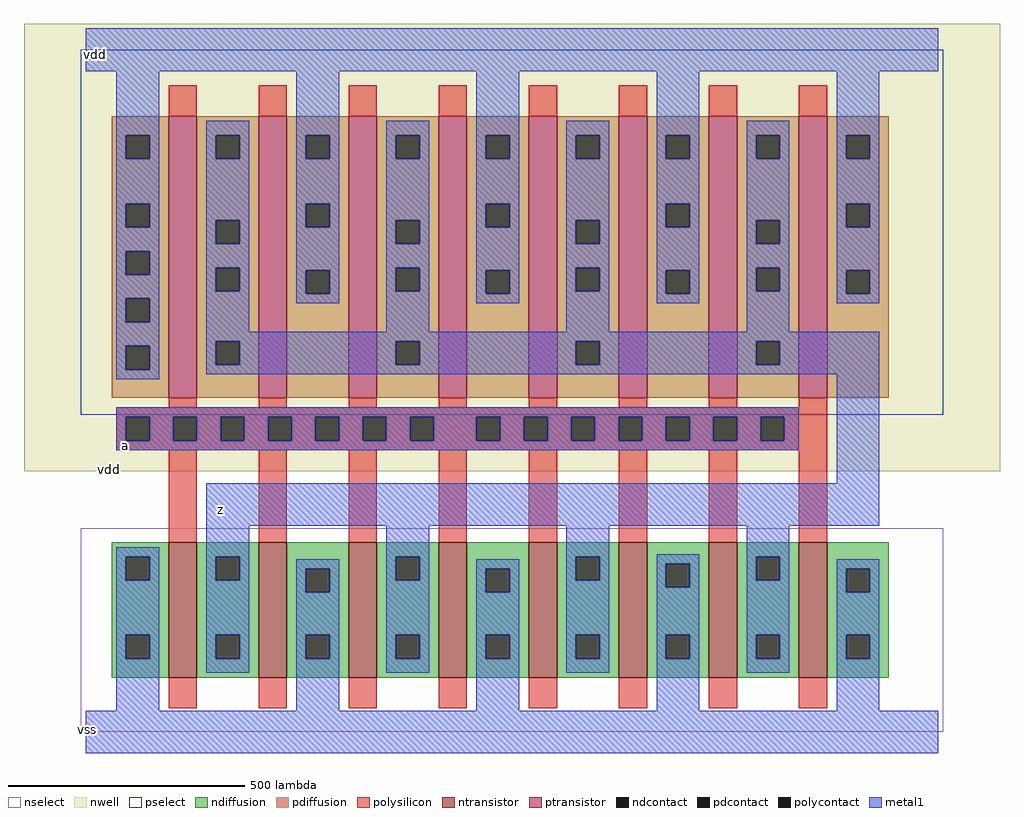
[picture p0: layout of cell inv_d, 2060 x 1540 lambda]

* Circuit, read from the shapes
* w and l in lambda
.subckt inv_d z a vdd vss
M1 z a vss VSUBS nfet w=285 l=60 m=8
M2 z a vdd vdd pfet w=595 l=60 m=8
.ends

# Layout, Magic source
magic
tech amic5n
<< nwell >>
rect -130 550 1930 1495
<< ntransistor >>
rect 175 115 235 400
rect 365 115 425 400
rect 555 115 615 400
rect 745 115 805 400
rect 935 115 995 400
rect 1125 115 1185 400
rect 1315 115 1375 400
rect 1505 115 1565 400
<< ptransistor >>
rect 175 705 235 1300
rect 365 705 425 1300
rect 555 705 615 1300
rect 745 705 805 1300
rect 935 705 995 1300
rect 1125 705 1185 1300
rect 1315 705 1375 1300
rect 1505 705 1565 1300
<< nselect >>
rect -10 0 1810 430
<< pselect >>
rect -10 670 1810 1440
<< ndiffusion >>
rect 55 370 175 400
rect 55 320 85 370
rect 135 320 175 370
rect 55 205 175 320
rect 55 155 85 205
rect 135 155 175 205
rect 55 115 175 155
rect 235 370 365 400
rect 235 320 275 370
rect 325 320 365 370
rect 235 205 365 320
rect 235 155 275 205
rect 325 155 365 205
rect 235 115 365 155
rect 425 345 555 400
rect 425 295 465 345
rect 515 295 555 345
rect 425 205 555 295
rect 425 155 465 205
rect 515 155 555 205
rect 425 115 555 155
rect 615 370 745 400
rect 615 320 655 370
rect 705 320 745 370
rect 615 205 745 320
rect 615 155 655 205
rect 705 155 745 205
rect 615 115 745 155
rect 805 345 935 400
rect 805 295 845 345
rect 895 295 935 345
rect 805 205 935 295
rect 805 155 845 205
rect 895 155 935 205
rect 805 115 935 155
rect 995 370 1125 400
rect 995 320 1035 370
rect 1085 320 1125 370
rect 995 205 1125 320
rect 995 155 1035 205
rect 1085 155 1125 205
rect 995 115 1125 155
rect 1185 355 1315 400
rect 1185 305 1225 355
rect 1275 305 1315 355
rect 1185 205 1315 305
rect 1185 155 1225 205
rect 1275 155 1315 205
rect 1185 115 1315 155
rect 1375 370 1505 400
rect 1375 320 1415 370
rect 1465 320 1505 370
rect 1375 205 1505 320
rect 1375 155 1415 205
rect 1465 155 1505 205
rect 1375 115 1505 155
rect 1565 345 1695 400
rect 1565 295 1605 345
rect 1655 295 1695 345
rect 1565 205 1695 295
rect 1565 155 1605 205
rect 1655 155 1695 205
rect 1565 115 1695 155
<< pdiffusion >>
rect 55 1260 175 1300
rect 55 1210 85 1260
rect 135 1210 175 1260
rect 55 1115 175 1210
rect 55 1065 85 1115
rect 135 1065 175 1115
rect 55 1015 175 1065
rect 55 965 85 1015
rect 135 965 175 1015
rect 55 915 175 965
rect 55 865 85 915
rect 135 865 175 915
rect 55 815 175 865
rect 55 765 85 815
rect 135 765 175 815
rect 55 705 175 765
rect 235 1260 365 1300
rect 235 1210 275 1260
rect 325 1210 365 1260
rect 235 1080 365 1210
rect 235 1030 275 1080
rect 325 1030 365 1080
rect 235 980 365 1030
rect 235 930 275 980
rect 325 930 365 980
rect 235 825 365 930
rect 235 775 275 825
rect 325 775 365 825
rect 235 705 365 775
rect 425 1260 555 1300
rect 425 1210 465 1260
rect 515 1210 555 1260
rect 425 1115 555 1210
rect 425 1065 465 1115
rect 515 1065 555 1115
rect 425 975 555 1065
rect 425 925 465 975
rect 515 925 555 975
rect 425 705 555 925
rect 615 1260 745 1300
rect 615 1210 655 1260
rect 705 1210 745 1260
rect 615 1080 745 1210
rect 615 1030 655 1080
rect 705 1030 745 1080
rect 615 980 745 1030
rect 615 930 655 980
rect 705 930 745 980
rect 615 825 745 930
rect 615 775 655 825
rect 705 775 745 825
rect 615 705 745 775
rect 805 1260 935 1300
rect 805 1210 845 1260
rect 895 1210 935 1260
rect 805 1115 935 1210
rect 805 1065 845 1115
rect 895 1065 935 1115
rect 805 975 935 1065
rect 805 925 845 975
rect 895 925 935 975
rect 805 705 935 925
rect 995 1260 1125 1300
rect 995 1210 1035 1260
rect 1085 1210 1125 1260
rect 995 1080 1125 1210
rect 995 1030 1035 1080
rect 1085 1030 1125 1080
rect 995 980 1125 1030
rect 995 930 1035 980
rect 1085 930 1125 980
rect 995 825 1125 930
rect 995 775 1035 825
rect 1085 775 1125 825
rect 995 705 1125 775
rect 1185 1260 1315 1300
rect 1185 1210 1225 1260
rect 1275 1210 1315 1260
rect 1185 1115 1315 1210
rect 1185 1065 1225 1115
rect 1275 1065 1315 1115
rect 1185 975 1315 1065
rect 1185 925 1225 975
rect 1275 925 1315 975
rect 1185 705 1315 925
rect 1375 1260 1505 1300
rect 1375 1210 1415 1260
rect 1465 1210 1505 1260
rect 1375 1080 1505 1210
rect 1375 1030 1415 1080
rect 1465 1030 1505 1080
rect 1375 980 1505 1030
rect 1375 930 1415 980
rect 1465 930 1505 980
rect 1375 825 1505 930
rect 1375 775 1415 825
rect 1465 775 1505 825
rect 1375 705 1505 775
rect 1565 1260 1695 1300
rect 1565 1210 1605 1260
rect 1655 1210 1695 1260
rect 1565 1115 1695 1210
rect 1565 1065 1605 1115
rect 1655 1065 1695 1115
rect 1565 975 1695 1065
rect 1565 925 1605 975
rect 1655 925 1695 975
rect 1565 705 1695 925
<< ndcontact >>
rect 85 320 135 370
rect 85 155 135 205
rect 275 320 325 370
rect 275 155 325 205
rect 465 295 515 345
rect 465 155 515 205
rect 655 320 705 370
rect 655 155 705 205
rect 845 295 895 345
rect 845 155 895 205
rect 1035 320 1085 370
rect 1035 155 1085 205
rect 1225 305 1275 355
rect 1225 155 1275 205
rect 1415 320 1465 370
rect 1415 155 1465 205
rect 1605 295 1655 345
rect 1605 155 1655 205
<< pdcontact >>
rect 85 1210 135 1260
rect 85 1065 135 1115
rect 85 965 135 1015
rect 85 865 135 915
rect 85 765 135 815
rect 275 1210 325 1260
rect 275 1030 325 1080
rect 275 930 325 980
rect 275 775 325 825
rect 465 1210 515 1260
rect 465 1065 515 1115
rect 465 925 515 975
rect 655 1210 705 1260
rect 655 1030 705 1080
rect 655 930 705 980
rect 655 775 705 825
rect 845 1210 895 1260
rect 845 1065 895 1115
rect 845 925 895 975
rect 1035 1210 1085 1260
rect 1035 1030 1085 1080
rect 1035 930 1085 980
rect 1035 775 1085 825
rect 1225 1210 1275 1260
rect 1225 1065 1275 1115
rect 1225 925 1275 975
rect 1415 1210 1465 1260
rect 1415 1030 1465 1080
rect 1415 930 1465 980
rect 1415 775 1465 825
rect 1605 1210 1655 1260
rect 1605 1065 1655 1115
rect 1605 925 1655 975
<< polysilicon >>
rect 175 1300 235 1365
rect 365 1300 425 1365
rect 555 1300 615 1365
rect 745 1300 805 1365
rect 935 1300 995 1365
rect 1125 1300 1185 1365
rect 1315 1300 1375 1365
rect 1505 1300 1565 1365
rect 175 685 235 705
rect 365 685 425 705
rect 555 685 615 705
rect 745 685 805 705
rect 935 685 995 705
rect 1125 685 1185 705
rect 1315 685 1375 705
rect 1505 685 1565 705
rect 65 665 1565 685
rect 65 615 85 665
rect 135 615 185 665
rect 235 615 285 665
rect 335 615 385 665
rect 435 615 485 665
rect 535 615 585 665
rect 635 615 685 665
rect 735 615 825 665
rect 875 615 925 665
rect 975 615 1025 665
rect 1075 615 1125 665
rect 1175 615 1225 665
rect 1275 615 1325 665
rect 1375 615 1425 665
rect 1475 615 1565 665
rect 65 595 1565 615
rect 175 400 235 595
rect 365 400 425 595
rect 555 400 615 595
rect 745 400 805 595
rect 935 400 995 595
rect 1125 400 1185 595
rect 1315 400 1375 595
rect 1505 400 1565 595
rect 175 50 235 115
rect 365 50 425 115
rect 555 50 615 115
rect 745 50 805 115
rect 935 50 995 115
rect 1125 50 1185 115
rect 1315 50 1375 115
rect 1505 50 1565 115
<< polycontact >>
rect 85 615 135 665
rect 185 615 235 665
rect 285 615 335 665
rect 385 615 435 665
rect 485 615 535 665
rect 585 615 635 665
rect 685 615 735 665
rect 825 615 875 665
rect 925 615 975 665
rect 1025 615 1075 665
rect 1125 615 1175 665
rect 1225 615 1275 665
rect 1325 615 1375 665
rect 1425 615 1475 665
<< metal1 >>
rect 0 1395 1800 1485
rect 65 1260 155 1395
rect 65 1210 85 1260
rect 135 1210 155 1260
rect 65 1115 155 1210
rect 65 1065 85 1115
rect 135 1065 155 1115
rect 65 1015 155 1065
rect 65 965 85 1015
rect 135 965 155 1015
rect 65 915 155 965
rect 65 865 85 915
rect 135 865 155 915
rect 65 815 155 865
rect 65 765 85 815
rect 135 765 155 815
rect 65 745 155 765
rect 255 1260 345 1290
rect 255 1210 275 1260
rect 325 1210 345 1260
rect 255 1080 345 1210
rect 255 1030 275 1080
rect 325 1030 345 1080
rect 255 980 345 1030
rect 255 930 275 980
rect 325 930 345 980
rect 255 845 345 930
rect 445 1260 535 1395
rect 445 1210 465 1260
rect 515 1210 535 1260
rect 445 1115 535 1210
rect 445 1065 465 1115
rect 515 1065 535 1115
rect 445 975 535 1065
rect 445 925 465 975
rect 515 925 535 975
rect 445 905 535 925
rect 635 1260 725 1290
rect 635 1210 655 1260
rect 705 1210 725 1260
rect 635 1080 725 1210
rect 635 1030 655 1080
rect 705 1030 725 1080
rect 635 980 725 1030
rect 635 930 655 980
rect 705 930 725 980
rect 635 845 725 930
rect 825 1260 915 1395
rect 825 1210 845 1260
rect 895 1210 915 1260
rect 825 1115 915 1210
rect 825 1065 845 1115
rect 895 1065 915 1115
rect 825 975 915 1065
rect 825 925 845 975
rect 895 925 915 975
rect 825 905 915 925
rect 1015 1260 1105 1290
rect 1015 1210 1035 1260
rect 1085 1210 1105 1260
rect 1015 1080 1105 1210
rect 1015 1030 1035 1080
rect 1085 1030 1105 1080
rect 1015 980 1105 1030
rect 1015 930 1035 980
rect 1085 930 1105 980
rect 1015 845 1105 930
rect 1205 1260 1295 1395
rect 1205 1210 1225 1260
rect 1275 1210 1295 1260
rect 1205 1115 1295 1210
rect 1205 1065 1225 1115
rect 1275 1065 1295 1115
rect 1205 975 1295 1065
rect 1205 925 1225 975
rect 1275 925 1295 975
rect 1205 905 1295 925
rect 1395 1260 1485 1290
rect 1395 1210 1415 1260
rect 1465 1210 1485 1260
rect 1395 1080 1485 1210
rect 1395 1030 1415 1080
rect 1465 1030 1485 1080
rect 1395 980 1485 1030
rect 1395 930 1415 980
rect 1465 930 1485 980
rect 1395 845 1485 930
rect 1585 1260 1675 1395
rect 1585 1210 1605 1260
rect 1655 1210 1675 1260
rect 1585 1115 1675 1210
rect 1585 1065 1605 1115
rect 1655 1065 1675 1115
rect 1585 975 1675 1065
rect 1585 925 1605 975
rect 1655 925 1675 975
rect 1585 905 1675 925
rect 255 825 1675 845
rect 255 775 275 825
rect 325 775 655 825
rect 705 775 1035 825
rect 1085 775 1415 825
rect 1465 775 1675 825
rect 255 755 1675 775
rect 65 665 1505 685
rect 65 615 85 665
rect 135 615 185 665
rect 235 615 285 665
rect 335 615 385 665
rect 435 615 485 665
rect 535 615 585 665
rect 635 615 685 665
rect 735 615 825 665
rect 875 615 925 665
rect 975 615 1025 665
rect 1075 615 1125 665
rect 1175 615 1225 665
rect 1275 615 1325 665
rect 1375 615 1425 665
rect 1475 615 1505 665
rect 65 595 1505 615
rect 1585 525 1675 755
rect 255 435 1675 525
rect 65 370 155 390
rect 65 320 85 370
rect 135 320 155 370
rect 65 205 155 320
rect 65 155 85 205
rect 135 155 155 205
rect 65 45 155 155
rect 255 370 345 435
rect 255 320 275 370
rect 325 320 345 370
rect 635 370 725 435
rect 255 205 345 320
rect 255 155 275 205
rect 325 155 345 205
rect 255 125 345 155
rect 445 345 535 365
rect 445 295 465 345
rect 515 295 535 345
rect 445 205 535 295
rect 445 155 465 205
rect 515 155 535 205
rect 445 45 535 155
rect 635 320 655 370
rect 705 320 725 370
rect 1015 370 1105 435
rect 635 205 725 320
rect 635 155 655 205
rect 705 155 725 205
rect 635 125 725 155
rect 825 345 915 365
rect 825 295 845 345
rect 895 295 915 345
rect 825 205 915 295
rect 825 155 845 205
rect 895 155 915 205
rect 825 45 915 155
rect 1015 320 1035 370
rect 1085 320 1105 370
rect 1015 205 1105 320
rect 1015 155 1035 205
rect 1085 155 1105 205
rect 1015 125 1105 155
rect 1205 355 1295 375
rect 1205 305 1225 355
rect 1275 305 1295 355
rect 1205 205 1295 305
rect 1205 155 1225 205
rect 1275 155 1295 205
rect 1205 45 1295 155
rect 1395 370 1485 435
rect 1395 320 1415 370
rect 1465 320 1485 370
rect 1395 205 1485 320
rect 1395 155 1415 205
rect 1465 155 1485 205
rect 1395 125 1485 155
rect 1585 345 1675 365
rect 1585 295 1605 345
rect 1655 295 1675 345
rect 1585 205 1675 295
rect 1585 155 1605 205
rect 1655 155 1675 205
rect 1585 45 1675 155
rect 0 -45 1800 45
<< labels >>
flabel metal1 s 5 5 5 5 2 FreeSans 400 0 0 0 vss
port 3 ne
flabel metal1 s 20 1430 20 1430 2 FreeSans 400 0 0 0 vdd
port 2 ne
flabel metal1 s 285 470 285 470 2 FreeSans 400 0 0 0 z
port 0 ne
flabel metal1 s 85 605 85 605 2 FreeSans 400 0 0 0 a
port 1 ne
flabel nwell 50 555 50 555 2 FreeSans 400 0 0 0 vdd
<< properties >>
string FIXED_BBOX 0 0 1800 1440
string LEFclass CORE
string LEFsite core
string LEFsymmetry X Y
<< end >>
